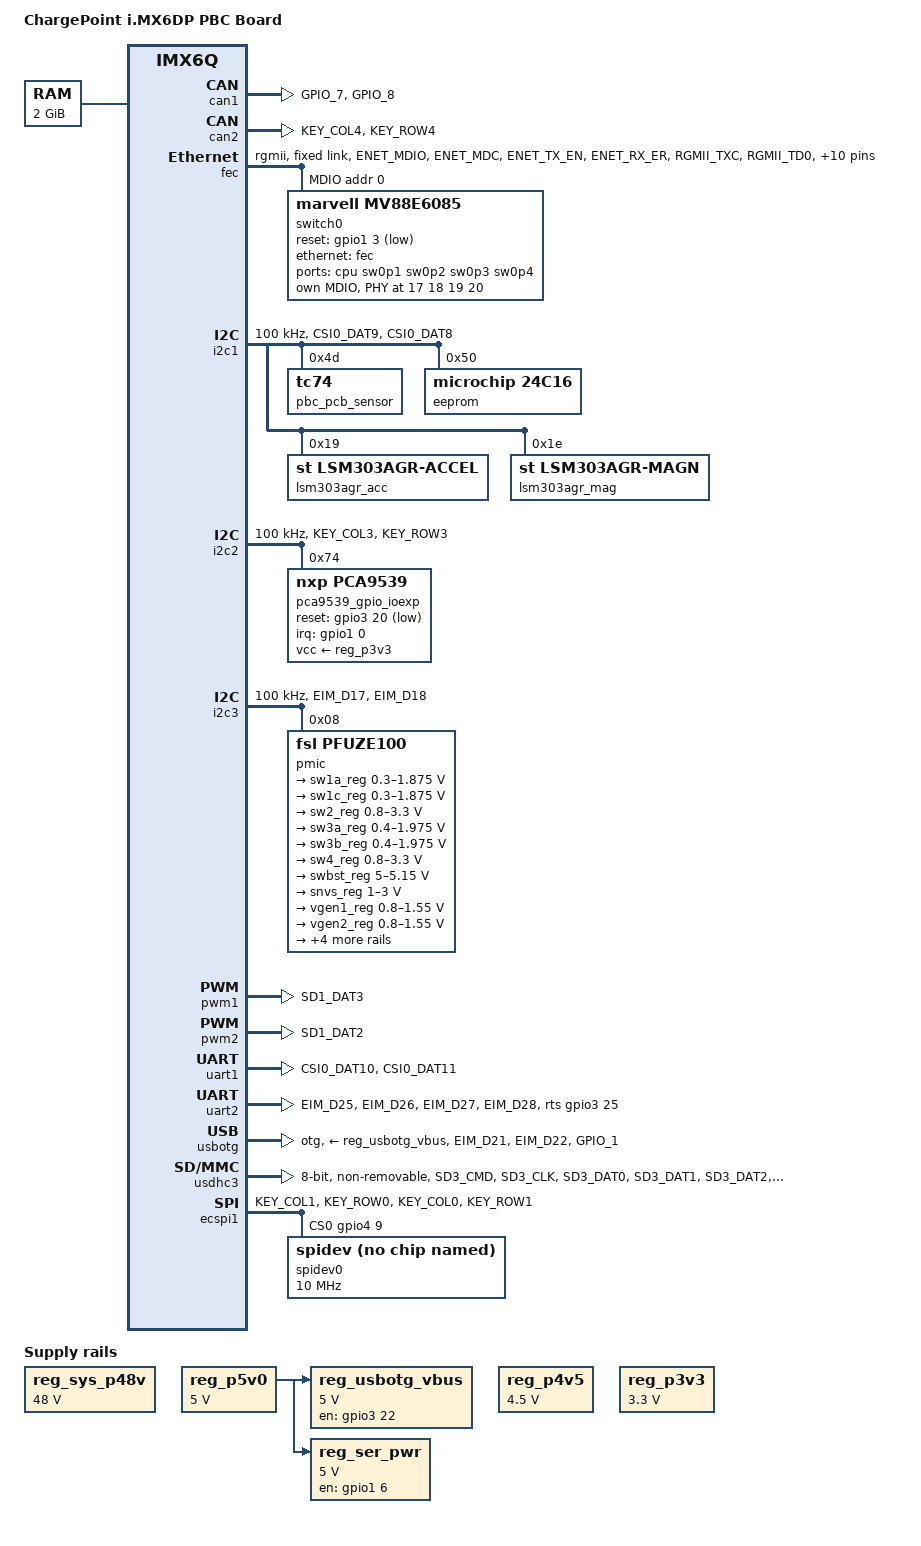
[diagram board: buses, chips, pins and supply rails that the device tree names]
/*
 * Copyright 2020 ChargePoint, Inc.
 * Copyright 2013 Boundary Devices
 * Copyright 2012 Freescale Semiconductor, Inc.
 * Copyright 2011 Linaro Ltd.
 *
 * The code contained herein is licensed under the GNU General Public
 * License. You may obtain a copy of the GNU General Public License
 * Version 2 or later at the following locations:
 *
 * http://www.opensource.org/licenses/gpl-license.html
 * http://www.gnu.org/copyleft/gpl.html
 */
/*
 * XXX - THIS NEEDS TO BE AUDITED - XXX
 *
 * At the time of this comment, this device-tree was changed to just
 * make a boot happen
 */


/dts-v1/;

#include <dt-bindings/gpio/gpio.h>
#include <dt-bindings/input/input.h>
#include "imx6q.dtsi"
#include "imx6qp.dtsi"

#if defined(CONFIG_NOT_UUU_BUILD)
#include "chargepoint-pubkey.dtsi"
#include "prod-pubkey-pbc.dtsi"
#endif

/ {
	model = "ChargePoint i.MX6DP PBC Board";
	compatible = "fsl,imx6dp-chargepoint-pbc", "fsl,imx6q";

	aliases {
		mmc0 = &usdhc3;
		gpio7 = &pca9539_gpio_ioexp;
	};

	chosen {
		stdout-path = &uart1;
	};

	memory: memory {
		reg = <0x10000000 0x80000000>;
	};

	regulators {
		compatible = "simple-bus";
		#address-cells = <1>;
		#size-cells = <0>;

		reg_sys_p48v: regulator-system-p48v {
			compatible = "regulator-fixed";
			regulator-name = "P48V";
			regulator-min-microvolt = <48000000>;
			regulator-max-microvolt = <48000000>;
			regulator-always-on;
		};

		reg_p5v0: regulator-p5v0 {
			compatible = "regulator-fixed";
			regulator-name = "P5V0";
			regulator-min-microvolt = <5000000>;
			regulator-max-microvolt = <5000000>;
			regulator-always-on;
		};

		reg_p4v5: regulator-p4v5 {
			compatible = "regulator-fixed";
			regulator-name = "P4V5";
			regulator-min-microvolt = <4500000>;
			regulator-max-microvolt = <4500000>;
			regulator-always-on;
		};

		reg_p3v3: regulator-p3v3 {
			compatible = "regulator-fixed";
			regulator-name = "P3V3";
			regulator-min-microvolt = <3300000>;
			regulator-max-microvolt = <3300000>;
			regulator-always-on;
		};

		reg_usbotg_vbus: regulator-usbotg-vbus {
			compatible = "regulator-fixed";
			regulator-name = "usb_otg_vbus";
			regulator-min-microvolt = <5000000>;
			regulator-max-microvolt = <5000000>;
			gpio = <&gpio3 22 GPIO_ACTIVE_HIGH>;
			enable-active-high;
			regulator-always-on;
			vin-supply = <&reg_p5v0>;
		};

		/* for RS485 transceiver */
		reg_ser_pwr: regulator-serial-power {
			compatible = "regulator-fixed";
			regulator-name = "ser_pwr_en";
			regulator-min-microvolt = <5000000>;
			regulator-max-microvolt = <5000000>;
			gpio = <&gpio1 6 GPIO_ACTIVE_HIGH>;
			enable-active-high;
			vin-supply = <&reg_p5v0>;
		};
	};
};

&iomuxc {
	pinctrl-names = "default";
	pinctrl-0 = <&pinctrl_hog>;
	iomuxc_imx6q_pbc: iomuxc-imx6q-pbc-grp {
		status = "okay";
	};
};

&iomuxc_imx6q_pbc {
	pinctrl_hog: hoggrp {
		fsl,pins = <
		    MX6QDL_PAD_NANDF_CS0__GPIO6_IO11	0x1b0b0 /* ACCEL_INT_B */
		    MX6QDL_PAD_NANDF_CS1__GPIO6_IO14	0x1b0b0 /* MAG_INT_B */
		    MX6QDL_PAD_NANDF_CS2__GPIO6_IO15	0x1b0b0 /* MAG_DRDY */
		    MX6QDL_PAD_NANDF_D0__GPIO2_IO00	0x1b0b0 /* GPIO2_0 */
		    MX6QDL_PAD_NANDF_D1__GPIO2_IO01	0x1b0b0 /* GPIO2_1 */
		    MX6QDL_PAD_NANDF_D2__GPIO2_IO02	0x1b0b0 /* GPIO2_2 */
		    MX6QDL_PAD_NANDF_D3__GPIO2_IO03	0x1b0b0 /* GPIO2_3 */
		    MX6QDL_PAD_NANDF_D6__GPIO2_IO06	0x1b0b0 /* PS2SOC_PG */

		    MX6QDL_PAD_NANDF_ALE__GPIO6_IO08	0x1b0b0 /* SOC_SURGE_DET1 */
		    MX6QDL_PAD_NANDF_CLE__GPIO6_IO07	0x1b0b0 /* SOC_SURGE_DET2 */
		    MX6QDL_PAD_NANDF_WP_B__GPIO6_IO09	0x1b0b0 /* SOC_SURGE_DET3 */
		    MX6QDL_PAD_NANDF_RB0__GPIO6_IO10	0x1b0b0 /* SOC_SURGE_DET4 */
		    MX6QDL_PAD_NANDF_D4__GPIO2_IO04	0x1b0b0 /* SOC_SURGE_DET5 */

		    MX6QDL_PAD_EIM_D16__GPIO3_IO16	0x1b0b0 /* RTD_DRDYn */
		    MX6QDL_PAD_EIM_D19__GPIO3_IO19	0x1b0b0 /* RTD_START_SYNC */
		    MX6QDL_PAD_EIM_D20__GPIO3_IO20	0x1b0b0 /* PM_RESET_N */
		    MX6QDL_PAD_EIM_D23__GPIO3_IO23	0x1b0b0 /* SOC_THER_SW1 */
		    MX6QDL_PAD_EIM_D24__GPIO3_IO24	0x1b0b0 /* SOC_THER_SW2 */
		    MX6QDL_PAD_EIM_D29__GPIO3_IO29	0x1b0b0 /* PMIC_INT_B */
		    MX6QDL_PAD_EIM_D30__GPIO3_IO30	0x1b0b0 /* SOC_THER_SW3 */
		    MX6QDL_PAD_EIM_D31__GPIO3_IO31	0x1b0b0 /* SOC_THER_SW4 */

		    MX6QDL_PAD_SD4_DAT6__GPIO2_IO14	0x1b0b0 /* FAN_TACH_DSP0 */
		    MX6QDL_PAD_SD4_DAT7__GPIO2_IO15	0x1b0b0 /* FAN_TACH_DSP1 */

		    MX6QDL_PAD_GPIO_0__GPIO1_IO00	0x1b0b0 /* PM_INT_IN */
		    MX6QDL_PAD_GPIO_2__GPIO1_IO02	0x1b0b0 /* ETH_PWR_EN */
		    MX6QDL_PAD_GPIO_4__GPIO1_IO04	0x1b0b0 /* SOC_FLOAT_TRIP1 */
		    MX6QDL_PAD_GPIO_5__GPIO1_IO05	0x1b0b0 /* SOC_FLOAT_TRIP2 */
		    MX6QDL_PAD_GPIO_6__GPIO1_IO06	0x1b0b0 /* SER_PWR_EN */
		    MX6QDL_PAD_GPIO_16__GPIO7_IO11	0x1b0b0 /* SOC_REED1 */
		    MX6QDL_PAD_GPIO_17__GPIO7_IO12	0x1b0b0 /* SOC_REED2 */
		    MX6QDL_PAD_GPIO_18__GPIO7_IO13	0x1b0b0 /* SOC_REED3 */
		    MX6QDL_PAD_GPIO_19__GPIO4_IO05	0x1b0b0 /* SOC_REED4 */

		    MX6QDL_PAD_DISP0_DAT18__GPIO5_IO12	0x1b0b0 /* I2C PMIC ENABLE */
		    MX6QDL_PAD_GPIO_9__GPIO1_IO09	0x1b0b0 /* SOC_LED */
		    MX6QDL_PAD_KEY_ROW2__GPIO4_IO11	0x1b0b0 /* SOC_LED1 */
		>;
	};

	pinctrl_enet: enetgrp {
		fsl,pins = <
		    MX6QDL_PAD_ENET_MDIO__ENET_MDIO	0x1b0b0
		    MX6QDL_PAD_ENET_MDC__ENET_MDC	0x1b0b0
		    MX6QDL_PAD_ENET_TX_EN__ENET_TX_EN	0x1b0b0
		    MX6QDL_PAD_ENET_RX_ER__ENET_RX_ER	0x1b0b0

		    MX6QDL_PAD_RGMII_TXC__RGMII_TXC		0x1b030
		    MX6QDL_PAD_RGMII_TD0__RGMII_TD0		0x1b030
		    MX6QDL_PAD_RGMII_TD1__RGMII_TD1		0x1b030
		    MX6QDL_PAD_RGMII_TD2__RGMII_TD2		0x1b030
		    MX6QDL_PAD_RGMII_TD3__RGMII_TD3		0x1b030
		    MX6QDL_PAD_RGMII_TX_CTL__RGMII_TX_CTL	0x1b030
		    MX6QDL_PAD_RGMII_RXC__RGMII_RXC		0x1b030
		    MX6QDL_PAD_RGMII_RD0__RGMII_RD0		0x1b030
		    MX6QDL_PAD_RGMII_RD1__RGMII_RD1		0x1b030
		    MX6QDL_PAD_RGMII_RD2__RGMII_RD2		0x1b030
		    MX6QDL_PAD_RGMII_RD3__RGMII_RD3		0x1b030
		    MX6QDL_PAD_RGMII_RX_CTL__RGMII_RX_CTL	0x1b030
		>;
	};
	pinctrl_enet_switch: enetswitchgrp {
		fsl,pins = <
		    MX6QDL_PAD_GPIO_3__GPIO1_IO03	0x1b0b0 /* PHY_RSTn */
		>;
	};

	pinctrl_flexcan1: flexcan1grp {
		fsl,pins = <
		    MX6QDL_PAD_GPIO_7__FLEXCAN1_TX	0x1b0b0
		    MX6QDL_PAD_GPIO_8__FLEXCAN1_RX	0x1b0b0
		>;
	};

	pinctrl_flexcan2: flexcan2grp {
		fsl,pins = <
		    MX6QDL_PAD_KEY_COL4__FLEXCAN2_TX	0x1b0b0
		    MX6QDL_PAD_KEY_ROW4__FLEXCAN2_RX	0x1b0b0
		>;
	};

	pinctrl_i2c1: i2c1grp {
		fsl,pins = <
		    MX6QDL_PAD_CSI0_DAT9__I2C1_SCL	0x4001b8b1
		    MX6QDL_PAD_CSI0_DAT8__I2C1_SDA	0x4001b8b1
		>;
	};

	pinctrl_i2c2: i2c2grp {
		fsl,pins = <
		    MX6QDL_PAD_KEY_COL3__I2C2_SCL	0x4001b8b1
		    MX6QDL_PAD_KEY_ROW3__I2C2_SDA	0x4001b8b1
		>;
	};

	pinctrl_i2c3: i2c3grp {
		fsl,pins = <
		    MX6QDL_PAD_EIM_D17__I2C3_SCL	0x4001b8b1
		    MX6QDL_PAD_EIM_D18__I2C3_SDA	0x4001b8b1
		>;
	};

	pinctrl_pwm1: pwm1grp {
		fsl,pins = <
		    MX6QDL_PAD_SD1_DAT3__PWM1_OUT	0x1b0b0
		>;
	};
	pinctrl_pwm2: pwm2grp {
		fsl,pins = <
		    MX6QDL_PAD_SD1_DAT2__PWM2_OUT	0x1b0b0
		>;
	};

	pinctrl_uart1: uart1grp { /* DBG Console */
		fsl,pins = <
		    MX6QDL_PAD_CSI0_DAT10__UART1_TX_DATA	0x1b0b1
		    MX6QDL_PAD_CSI0_DAT11__UART1_RX_DATA	0x1b0b1
		>;
	};

	pinctrl_uart2: uart2grp { /* RS485 */
		fsl,pins = <
		    MX6QDL_PAD_EIM_D25__GPIO3_IO25		0x1b0b1
		    MX6QDL_PAD_EIM_D26__UART2_TX_DATA		0x1b0b1
		    MX6QDL_PAD_EIM_D27__UART2_RX_DATA		0x1b0b1
		    MX6QDL_PAD_EIM_D28__GPIO3_IO28		0x1b0b1
		>;
	};

	pinctrl_usbotg: usbotggrp {
		fsl,pins = <
		    MX6QDL_PAD_EIM_D21__GPIO3_IO21		0x1b0b0
		    MX6QDL_PAD_EIM_D22__GPIO3_IO22		0x1b0b0
		    MX6QDL_PAD_GPIO_1__USB_OTG_ID		0x17059
		>;
	};

	pinctrl_usdhc3: usdhc3grp { /* eMMC */
		fsl,pins = <
		    MX6QDL_PAD_SD3_CMD__SD3_CMD		0x17059
		    MX6QDL_PAD_SD3_CLK__SD3_CLK		0x10059
		    MX6QDL_PAD_SD3_DAT0__SD3_DATA0		0x17059
		    MX6QDL_PAD_SD3_DAT1__SD3_DATA1		0x17059
		    MX6QDL_PAD_SD3_DAT2__SD3_DATA2		0x17059
		    MX6QDL_PAD_SD3_DAT3__SD3_DATA3		0x17059
		    MX6QDL_PAD_SD3_DAT4__SD3_DATA4		0x17059
		    MX6QDL_PAD_SD3_DAT5__SD3_DATA5		0x17059
		    MX6QDL_PAD_SD3_DAT6__SD3_DATA6		0x17059
		    MX6QDL_PAD_SD3_DAT7__SD3_DATA7		0x17059
		    MX6QDL_PAD_SD3_RST__SD3_RESET		0x17059
		>;
	};

	pinctrl_ecspi1: ecspi1grp {
		fsl,pins = <
		    MX6QDL_PAD_KEY_COL1__ECSPI1_MISO	0x100b1
		    MX6QDL_PAD_KEY_ROW0__ECSPI1_MOSI	0x100b1
		    MX6QDL_PAD_KEY_COL0__ECSPI1_SCLK	0x100b1
		    MX6QDL_PAD_KEY_ROW1__GPIO4_IO09	0x1b0b0
		>;
	};
};

/* disable dvfs as it appears to be causing linux hang after boot */
&busfreq {
	status = "disabled";
};

&can1 {
	pinctrl-names = "default";
	pinctrl-0 = <&pinctrl_flexcan1>;
	status = "okay";
};

&can2 {
	pinctrl-names = "default";
	pinctrl-0 = <&pinctrl_flexcan2>;
	status = "okay";
};

&fec {
	pinctrl-names = "default";
	pinctrl-0 = <&pinctrl_enet>;
	phy-mode = "rgmii";
	status = "okay";

	fixed-link {
		speed = <1000>;
		full-duplex;
		pause;
		asym-pause;
	};

	mdio1: mdio {
		#address-cells = <1>;
		#size-cells = <0>;
		status = "okay";

		switch0: switch0@0 {
			compatible = "marvell,mv88e6085";
			reg = <0>;
			pinctrl-names = "default";
			pinctrl-0 = <&pinctrl_enet_switch>;
			reset-gpios = <&gpio1 3 GPIO_ACTIVE_LOW>;

			ports {
				#address-cells = <1>;
				#size-cells = <0>;

				port@0 {
					reg = <0>;
					label = "cpu";
					ethernet = <&fec>;
					phy-mode = "rgmii-id";

					fixed-link {
						speed = <1000>;
						full-duplex;
					};
				};

				port@1 {
					reg = <1>;
					label = "sw0p1";
					phy-handle = <&switch0phy1>;
				};
				port@2 {
					reg = <2>;
					label = "sw0p2";
					phy-handle = <&switch0phy2>;
				};
				port@3 {
					reg = <3>;
					label = "sw0p3";
					phy-handle = <&switch0phy3>;
				};
				port@4 {
					reg = <4>;
					label = "sw0p4";
					phy-handle = <&switch0phy4>;
				};
			};

			mdio {
				#address-cells = <1>;
				#size-cells = <0>;

				switch0phy1: switch0phy1@11 {
					reg = <0x11>;
				};
				switch0phy2: switch0phy2@12 {
					reg = <0x12>;
				};
				switch0phy3: switch0phy3@13 {
					reg = <0x13>;
				};
				switch0phy4: switch0phy4@14 {
					reg = <0x14>;
				};
			};
		};
	};
};

&gpc {
	/* use ldo-enable, u-boot will check it and configure */
	fsl,ldo-bypass = <1>;
};

&i2c1 {
	clock-frequency = <100000>;
	pinctrl-names = "default";
	pinctrl-0 = <&pinctrl_i2c1>;
	status = "okay";

	pbc_pcb_sensor: tc74@4d {
		compatible = "tc74";
		reg = <0x4d>;
	};

	eeprom: eeprom@50 {
		compatible = "microchip,24c16";
		reg = <0x50>;
		pagesize = <16>;
	};

	/* tilt sensor */
	lsm303agr_acc@19 { /* Accelerometer */
		compatible = "st,lsm303agr-accel";
		reg = <0x19>;
	};
	lsm303agr_mag@1e { /* Magnetometer */
		compatible = "st,lsm303agr-magn";
		reg = <0x1e>;
		st,drdy-int-pin = <1>;
	};
};

&i2c2 {
	clock-frequency = <100000>;
	pinctrl-names = "default";
	pinctrl-0 = <&pinctrl_i2c2>;
	status = "okay";

	/* power module interface */
	pca9539_gpio_ioexp: gpio-controller@74 {
		compatible = "nxp,pca9539";
		reg = <0x74>;
		gpio-controller;
		#gpio-cells = <2>;
		interrupt-parent = <&gpio1>;
		interrupts = <0 IRQ_TYPE_LEVEL_LOW>;
		reset-gpios = <&gpio3 20 GPIO_ACTIVE_LOW>;
		vcc-supply = <&reg_p3v3>;
	};
};

&i2c3 {
	clock-frequency = <100000>;
	pinctrl-names = "default";
	pinctrl-0 = <&pinctrl_i2c3>;
	status = "okay";

	/*
	 * PMIC is pre-programmed and so the "regulator-always-on" is
	 * actually the regulator can not be configured or changed. So,
	 * use this variant across this sub-tree
	 */
	pmic: pfuze100@08 {
		compatible = "fsl,pfuze100";
		reg = <0x08>;

		regulators {
			sw1a_reg: sw1ab {
				regulator-min-microvolt = <300000>;
				regulator-max-microvolt = <1875000>;
				regulator-boot-on;
				regulator-always-on;
				vin-supply = <&reg_p4v5>;

				regulator-state-standby {
					regulator-on-in-suspend;
				};
				regulator-state-mem {
					regulator-on-in-suspend;
				};
				regulator-state-disk {
					regulator-on-in-suspend;
				};
			};

			sw1c_reg: sw1c {
				regulator-min-microvolt = <300000>;
				regulator-max-microvolt = <1875000>;
				regulator-boot-on;
				regulator-always-on;
				vin-supply = <&reg_p4v5>;

				regulator-state-standby {
					regulator-on-in-suspend;
				};
				regulator-state-mem {
					regulator-on-in-suspend;
				};
				regulator-state-disk {
					regulator-on-in-suspend;
				};
			};

			sw2_reg: sw2 {
				regulator-min-microvolt = <800000>;
				regulator-max-microvolt = <3300000>;
				regulator-boot-on;
				regulator-always-on;
				vin-supply = <&reg_p4v5>;

				regulator-state-standby {
					regulator-on-in-suspend;
				};
				regulator-state-mem {
					regulator-on-in-suspend;
				};
				regulator-state-disk {
					regulator-on-in-suspend;
				};
			};

			sw3a_reg: sw3a {
				regulator-min-microvolt = <400000>;
				regulator-max-microvolt = <1975000>;
				regulator-boot-on;
				regulator-always-on;
				vin-supply = <&reg_p4v5>;

				regulator-state-standby {
					regulator-on-in-suspend;
				};
				regulator-state-mem {
					regulator-on-in-suspend;
				};
				regulator-state-disk {
					regulator-on-in-suspend;
				};
			};

			sw3b_reg: sw3b {
				regulator-min-microvolt = <400000>;
				regulator-max-microvolt = <1975000>;
				regulator-boot-on;
				regulator-always-on;
				vin-supply = <&reg_p4v5>;

				regulator-state-standby {
					regulator-on-in-suspend;
				};
				regulator-state-mem {
					regulator-on-in-suspend;
				};
				regulator-state-disk {
					regulator-on-in-suspend;
				};
			};

			sw4_reg: sw4 {
				regulator-min-microvolt = <800000>;
				regulator-max-microvolt = <3300000>;
				regulator-boot-on;
				regulator-always-on;
				vin-supply = <&reg_p4v5>;

				regulator-state-standby {
					regulator-on-in-suspend;
				};
				regulator-state-mem {
					regulator-on-in-suspend;
				};
				regulator-state-disk {
					regulator-on-in-suspend;
				};
			};

			swbst_reg: swbst {
				regulator-min-microvolt = <5000000>;
				regulator-max-microvolt = <5150000>;
				regulator-boot-on;
				regulator-always-on;
				vin-supply = <&reg_p4v5>;
			};

			snvs_reg: vsnvs {
				regulator-min-microvolt = <1000000>;
				regulator-max-microvolt = <3000000>;
				regulator-boot-on;
				regulator-always-on;
			};

			vref_reg: vrefddr {
				regulator-boot-on;
				regulator-always-on;
			};

			vgen1_reg: vgen1 {
				regulator-min-microvolt = <800000>;
				regulator-max-microvolt = <1550000>;
				regulator-boot-on;
				regulator-always-on;
			};

			vgen2_reg: vgen2 {
				regulator-min-microvolt = <800000>;
				regulator-max-microvolt = <1550000>;
				regulator-boot-on;
				regulator-always-on;
			};

			vgen3_reg: vgen3 {
				regulator-min-microvolt = <1800000>;
				regulator-max-microvolt = <3300000>;
				regulator-boot-on;
				regulator-always-on;
			};

			vgen4_reg: vgen4 {
				regulator-min-microvolt = <1800000>;
				regulator-max-microvolt = <3300000>;
				regulator-boot-on;
				regulator-always-on;
			};

			vgen5_reg: vgen5 {
				regulator-min-microvolt = <1800000>;
				regulator-max-microvolt = <3300000>;
				regulator-boot-on;
				regulator-always-on;
			};

			vgen6_reg: vgen6 {
				regulator-min-microvolt = <1800000>;
				regulator-max-microvolt = <3300000>;
				regulator-boot-on;
				regulator-always-on;
			};
		};
	};
};

&pwm1 {
	pinctrl-names = "default";
	pinctrl-0 = <&pinctrl_pwm1>;
	status = "okay";
};

&pwm2 {
	pinctrl-names = "default";
	pinctrl-0 = <&pinctrl_pwm2>;
	status = "okay";
};

&reg_arm {
	vin-supply = <&sw2_reg>;
	regulator-allow-bypass;
};

&reg_soc {
	vin-supply = <&sw1c_reg>;
	regulator-allow-bypass;
};

&reg_pu {
	vin-supply = <&sw1c_reg>;
	regulator-allow-bypass;
};

&uart1 { /* console */
	pinctrl-names = "default";
	pinctrl-0 = <&pinctrl_uart1>;
	status = "okay";
};

&uart2 { /* RS485 */
	pinctrl-names = "default";
	pinctrl-0 = <&pinctrl_uart2>;
	rts-gpios = <&gpio3 25 GPIO_ACTIVE_HIGH>; /* RS485_DE */
	/* RS485_REn is set to low in uboot i.e we are always receive ready */
	linux,rs485-enabled-at-boot-time;
	rs485-rx-during-tx;
	status = "okay";
};

&usbotg {
	vbus-supply = <&reg_usbotg_vbus>;
	pinctrl-names = "default";
	pinctrl-0 = <&pinctrl_usbotg>;
	disable-over-current;
	srp-disable;
	hnp-disable;
	adp-disable;
	dr_mode = "otg";
	status = "okay";
};

&usdhc3 {       /* eMMC */
	pinctrl-names = "default";
	pinctrl-0 = <&pinctrl_usdhc3>;
	bus-width = <8>;
	non-removable;
	no-1-8-v;
	keep-power-in-suspend;
	status = "okay";
};

&ecspi1 {
	fsl,spi-num-chipselects = <1>;
	cs-gpios = <&gpio4 9 0>;
	pinctrl-names = "default";
	pinctrl-0 = <&pinctrl_ecspi1>;
	status = "okay";
	/* appears no driver for ADS114S08B RTD */
	spidev0: spi@0 {
		/* just to disable boot warning from spidev driver */
		compatible = "rohm,dh2228fv";
		reg = <0>;
		/* 10Mhz, not sure if this is correct for ADS114 */
		spi-max-frequency = <10000000>;
	};
};
